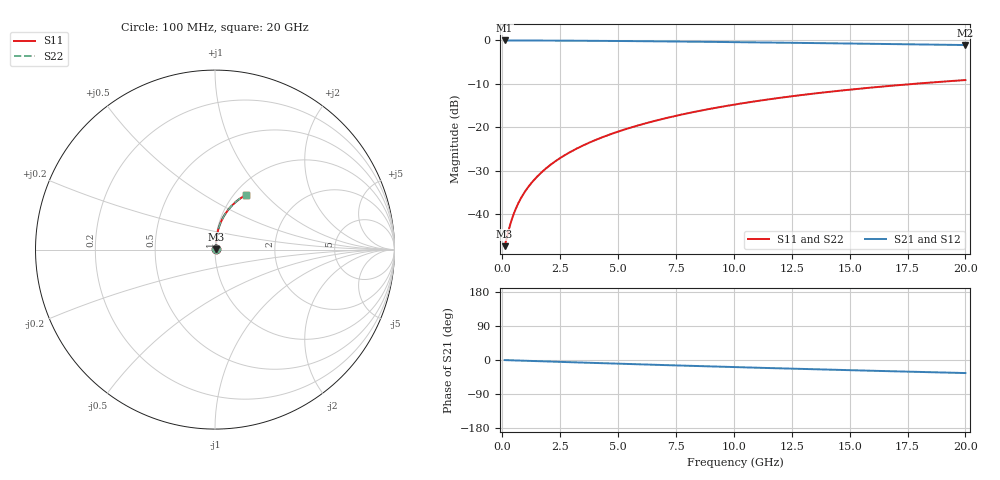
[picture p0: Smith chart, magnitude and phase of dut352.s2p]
! Touchstone file exported from HFSS 2024.1.0
!  File:  C:/UserFiles/LocalFiles/RDL_TSV_Batchsim/temp_RDL_bottom_352_1779612408.aedt
!  Generated:  04:49:59 PM May 24, 2026
!  Design:  RDL_bottom
!  Project:  temp_RDL_bottom_352_1779612408
!  Setup:  Setup1
!  Solution:  Sweep
! Variables:
!  dtsv = 10.80580581um
!  hbump = 3um
!  htsv = 97.44um
!  ldown = 458.32um
!  lrdl = 100um
!  p = 40
!  p1 = 45.85um
!  rhole = 1um
!  t = 450um
!  tdown = 2.42um
!  trdl = 3.915915916um
!  wdown = 18.88um
!  wrdl = 20um
# GHz S MA R 50.000000
! Terminal data exported
! Port[1] = RDL1_T1
! Port[2] = RDL1_T2
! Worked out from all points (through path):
!   200 points, 100 MHz to 20 GHz, reference 50 ohm
!   highest |S21| = -0.03 dB at 100 MHz (marker M1); lowest = -1.1 dB at 20 GHz (marker M2)
!   group delay of S21, straight-line fit = 4.77 ps
!   lowest |S11| = -47.4 dB at 100 MHz (marker M3), VSWR 1.01, Z = 50.4 + j0.191 ohm
!   |S11| at or under -10 dB: start of sweep to 17.85 GHz
!   |S22| runs from -47.4 to -9.1 dB; largest |S21 - S12| = 2.6e-15
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0.1  0.004256 26.5  0.9962 -0.2  0.9962 -0.2  0.004256 26.5
! Gamma 0 0 0 0
! Port Impedance 50 0 50 0
0.3  0.006895 54.5  0.996 -0.6  0.996 -0.6  0.006895 54.5
0.4  0.008489 60.8  0.9958 -0.8  0.9958 -0.8  0.008489 60.8
0.5  0.01013 65.0  0.9956 -1.0  0.9956 -1.0  0.01013 65.0
0.6  0.01178 68.0  0.9955 -1.2  0.9955 -1.2  0.01178 68.0
0.7  0.01343 70.3  0.9953 -1.4  0.9953 -1.4  0.01343 70.3
0.9  0.01675 73.5  0.995 -1.8  0.995 -1.8  0.01675 73.5
1.2  0.02178 76.6  0.9945 -2.4  0.9945 -2.4  0.02178 76.6
1.4  0.02515 78.0  0.9941 -2.8  0.9941 -2.8  0.02515 78.0
1.7  0.03026 79.4  0.9936 -3.4  0.9936 -3.4  0.03026 79.5
2.2  0.03886 80.9  0.9925 -4.4  0.9925 -4.4  0.03886 81.0
2.8  0.04933 81.9  0.9908 -5.5  0.9908 -5.5  0.04933 81.9
3.5  0.06171 82.3  0.9885 -6.9  0.9885 -6.9  0.06171 82.3
4.2  0.07426 82.2  0.9858 -8.2  0.9858 -8.2  0.07427 82.3
5  0.08879 81.9  0.9822 -9.7  0.9822 -9.7  0.0888 81.9
5.9  0.1053 81.2  0.9778 -11.4  0.9778 -11.4  0.1053 81.2
6.8  0.122 80.3  0.9729 -13.0  0.9729 -13.0  0.122 80.3
8.4  0.1518 78.3  0.9635 -15.9  0.9635 -15.9  0.1518 78.4
10.1  0.1833 75.9  0.9527 -18.8  0.9527 -18.8  0.1833 76.0
13.4  0.2426 70.8  0.9301 -24.3  0.9301 -24.3  0.2427 70.9
16.7  0.298 65.6  0.9064 -29.5  0.9064 -29.5  0.2982 65.7
20  0.3486 60.6  0.8821 -34.4  0.8821 -34.4  0.3488 60.7
